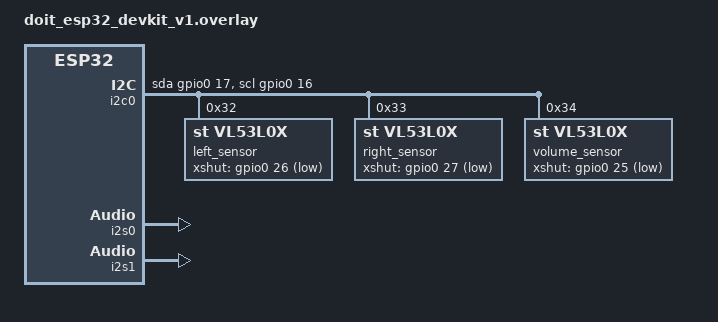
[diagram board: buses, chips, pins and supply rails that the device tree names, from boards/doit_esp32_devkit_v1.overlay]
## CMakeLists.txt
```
# SPDX-License-Identifier: Apache-2.0

cmake_minimum_required(VERSION 3.20.0)
find_package(Zephyr REQUIRED HINTS $ENV{ZEPHYR_BASE})
project(laser_theremin)

FILE(GLOB app_sources src/*.c src/*.h)
target_sources(app PRIVATE ${app_sources})
```

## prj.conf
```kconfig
CONFIG_STDOUT_CONSOLE=y
CONFIG_I2C=y
CONFIG_I2S=y
CONFIG_GPIO=y
CONFIG_SENSOR=y
CONFIG_VL53L0X_PROXIMITY_THRESHOLD=100
CONFIG_VL53L0X_RECONFIGURE_ADDRESS=y

CONFIG_MAIN_STACK_SIZE=4096
CONFIG_STACK_SENTINEL=y
CONFIG_THREAD_NAME=y

CONFIG_FPU=y
CONFIG_FPU_SHARING=y

#debug
#CONFIG_DEBUG=y
#CONFIG_LOG=y
#CONFIG_LOG_PROCESS_THREAD_STACK_SIZE=4096
#CONFIG_LOG_BUFFER_SIZE=4096
#CONFIG_SENSOR_LOG_LEVEL_DBG=y
#CONFIG_CBPRINTF_FP_SUPPORT=y
```

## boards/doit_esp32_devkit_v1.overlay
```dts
/ {
	aliases {
		i2s-tx1 = &i2s0;
		i2s-tx2= &i2s1;

        left-sensor=&left_sensor;
        right-sensor=&right_sensor;
        volume-sensor=&volume_sensor;
	};
};

&i2c0 {
	sda-gpios = <&gpio0 17 GPIO_OPEN_DRAIN>;
    scl-gpios = <&gpio0 16 GPIO_OPEN_DRAIN>;

    left_sensor: left_st_vl53l0x@32{
        compatible = "st,vl53l0x";
        status = "okay";
        reg = < 0x32 >;
        xshut-gpios = < &gpio0 26 (GPIO_ACTIVE_LOW)>;
    };
    right_sensor: right_st_vl53l0@33{
        compatible = "st,vl53l0x";
        status = "okay";
        reg = < 0x33 >;
        xshut-gpios = < &gpio0 27 (GPIO_ACTIVE_LOW)>;
    };

    volume_sensor: volume_st_vl53l0@34{
        compatible = "st,vl53l0x";
        status = "okay";
        reg = < 0x34 >;
        xshut-gpios = < &gpio0 25 (GPIO_ACTIVE_LOW)>;
    };
};

&i2s0_default {
	group1 {
		pinmux = <I2S0_O_BCK_GPIO4>,
			 <I2S0_O_SD_GPIO2>,
			 <I2S0_O_WS_GPIO15>;
	};
};

&i2s0 {
	status = "okay";
	interrupts = <I2S0_INTR_SOURCE IRQ_DEFAULT_PRIORITY 0>;
	interrupt-names = "tx";
};

&i2s1 {
	status = "okay";
	pinctrl-0 = <&i2s1_default>;
    pinctrl-names = "default";
	interrupts = <I2S1_INTR_SOURCE IRQ_DEFAULT_PRIORITY 0>;
	interrupt-names = "tx";
};

&pinctrl {
	i2c0_default: i2c0_default {
		group1 {
			pinmux = <I2C0_SDA_GPIO17>,
				 <I2C0_SCL_GPIO16>;
			bias-pull-up;
			drive-open-drain;
			output-high;
		};
	};

    i2s1_default: i2s1_default {
		group1 {
			pinmux = <I2S1_O_BCK_GPIO21>,
				<I2S1_O_SD_GPIO22>,
				<I2S1_O_WS_GPIO23>;
		};
	};
};
```

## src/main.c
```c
#include <zephyr/kernel.h>
#include <zephyr/device.h>
#include <zephyr/drivers/sensor.h>
#include <zephyr/sys/printk.h>
#include <zephyr/drivers/gpio.h>
#include <zephyr/drivers/i2s.h>
#include <zephyr/drivers/sensor/vl53l0x.h>

#include "distance_sensor.h"
#include "audio_signal.h"


#define MAX_DISTANCE_M 0.8f
#define STACK_SIZE 4096
#define PRIORITY   5


/* --- Global variables for distance --- */
static const struct device *const left_sensor = DEVICE_DT_GET(DT_ALIAS(left_sensor));
static const struct device *const right_sensor = DEVICE_DT_GET(DT_ALIAS(right_sensor));
static const struct device *const volume_sensor = DEVICE_DT_GET(DT_ALIAS(volume_sensor));

struct sensor_value left_sensor_value;
struct sensor_value right_sensor_value;
struct sensor_value volume_sensor_value;

/* --- Global variables for audio --- */
static float left_current_phase = 0.0;
static float right_current_phase = 0.0;

K_MEM_SLAB_DEFINE(i2s_mem_slab_1, BLOCK_SIZE, 6, 4);
K_MEM_SLAB_DEFINE(i2s_mem_slab_2, BLOCK_SIZE, 6, 4);

static const struct device *const dev_i2s_1 = DEVICE_DT_GET(DT_ALIAS(i2s_tx1));
static const struct device *const dev_i2s_2 = DEVICE_DT_GET(DT_ALIAS(i2s_tx2));

static volatile float left_current_frequency = 440.0;
static volatile float right_current_frequency = 440.0;
static volatile float current_volume = 0.4;

/**
 * Simple filtering of the distance and converting into a frequency value
 */
float filter_frequency(float current_value, float new_value)
{
    if (new_value > MAX_DISTANCE_M) {
        new_value = 0;
    }
    return (current_value + new_value * 2200.0f) / 2.0f;
}

/**
 * Measurement function prepared for thread
 * Volume is not filtered on purpose and has also a simple conversion into an amplitude value.
 */
void measurement(void)
{
	while (1) {
		get_distance(left_sensor, &left_sensor_value);
		left_current_frequency = filter_frequency(left_current_frequency, sensor_value_to_float(&left_sensor_value));
		
		get_distance(right_sensor, &right_sensor_value);
		right_current_frequency = filter_frequency(right_current_frequency, sensor_value_to_float(&right_sensor_value));
		
		get_distance(volume_sensor, &volume_sensor_value);
        current_volume = sensor_value_to_float(&volume_sensor_value) * 2.0;
	}
}

K_THREAD_DEFINE(measurement_tid, STACK_SIZE, measurement, NULL, NULL, NULL,PRIORITY, 0, SYS_FOREVER_MS);


int main(void)
{
	int ret;
	struct i2s_config config_1;
    struct i2s_config config_2;

	/* --- Init. all components ---*/
	ret = init_distance_sensor(left_sensor, right_sensor, volume_sensor);
	if (ret) {
		return 0;
	}
	k_sleep(K_MSEC(500));

	ret = config_audio(&config_1, dev_i2s_1, &i2s_mem_slab_1 );
    if (ret < 0) {
        printk("Failed to configure I2S: %d\n", ret);
        return ret;
    }

    ret = config_audio(&config_2, dev_i2s_2, &i2s_mem_slab_2 );
    if (ret < 0) {
        printk("Failed to configure I2S: %d\n", ret);
        return ret;
    }

	/* --- Setup and preload audio signal --- */
    ret = setup_device(dev_i2s_1, &i2s_mem_slab_1, &left_current_phase);
    if (ret < 0) {
        printk("Failed to trigger I2S_1 start: %d\n", ret);
        return ret;
    }

    ret = setup_device(dev_i2s_2, &i2s_mem_slab_2, &right_current_phase);
    if (ret < 0) {
        printk("Failed to trigger I2S_2 start: %d\n", ret);
        return ret;
    }

	/* --- Start all components ---*/
	k_thread_start(measurement_tid);

    ret = i2s_trigger(dev_i2s_1, I2S_DIR_TX, I2S_TRIGGER_START);
    if (ret < 0) {
        printk("Failed to trigger I2S_1 start: %d\n", ret);
        return ret;
    }

	ret = i2s_trigger(dev_i2s_2, I2S_DIR_TX, I2S_TRIGGER_START);
    if (ret < 0) {
        printk("Failed to trigger I2S_2 start: %d\n", ret);
        return ret;
    }

	while (1) {
		void *left_next_block = NULL;
        void *right_next_block = NULL;
        
        if (k_mem_slab_alloc(&i2s_mem_slab_1, &left_next_block, K_MSEC(10)) == 0) {
            
            fill_variable_frequency_buf((int16_t *)left_next_block, current_volume, left_current_frequency, &left_current_phase);

            ret = i2s_write(dev_i2s_1, left_next_block, BLOCK_SIZE);
            if (ret < 0) {
                printk("I2S write failed left_next_block: %d\n", ret);
                k_mem_slab_free(&i2s_mem_slab_1, left_next_block);
            }           
        }

        if (k_mem_slab_alloc(&i2s_mem_slab_2, &right_next_block, K_MSEC(10)) == 0) {

            fill_variable_frequency_buf((int16_t *)right_next_block, current_volume, right_current_frequency, &right_current_phase);

            ret = i2s_write(dev_i2s_2, right_next_block, BLOCK_SIZE);
            if (ret < 0) {
                printk("I2S write failed right_next_block: %d\n", ret);
                k_mem_slab_free(&i2s_mem_slab_2, right_next_block);
            }
        }
  
	}
	
	return 0;
}
```

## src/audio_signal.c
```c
#include <zephyr/kernel.h>
#include <zephyr/drivers/i2s.h>
#include <math.h>

#include "audio_signal.h"

int config_audio(struct i2s_config *config, const struct device *dev_i2s, struct k_mem_slab *mem_slab )
{
    int ret = 0;

    if (!device_is_ready(dev_i2s)) {
        printk("I2S device not ready\n");
        return -EIO;
    }
    
    config->word_size = SAMPLE_BIT_WIDTH;
    config->channels = NUM_CHANNELS;
    config->format = I2S_FMT_DATA_FORMAT_I2S;
    config->options = I2S_OPT_BIT_CLK_CONTROLLER | I2S_OPT_FRAME_CLK_CONTROLLER;
    config->frame_clk_freq = SAMPLE_RATE;
    config->mem_slab = mem_slab;
    config->block_size = BLOCK_SIZE;
    config->timeout = 100;

    ret = i2s_configure(dev_i2s, I2S_DIR_TX, config);
    if (ret < 0) {
        printk("Failed to configure I2S: %d\n", ret);
        return ret;
    }
    return ret;
}

void fill_variable_frequency_buf(int16_t *tx_block, float volume, float frequency,  float *current_phase)
{
    // How much the sine wave angle moves forward each frame
    float phase_increment = (2.0f * (float)M_PI * frequency) / (float)SAMPLE_RATE;

    for (int i = 0; i < FRAMES_PER_BLOCK; i++) {
        // Compute current sample value
        int16_t sample_val = (int16_t)(AMPLITUDE * volume * sinf(*current_phase));

        tx_block[2 * i]     = sample_val; // Left Channel
        tx_block[2 * i + 1] = sample_val; // Right Channel

        // Step phase forward
        *current_phase += phase_increment;

        // Keep phase bounded within 0 to 2*PI to prevent precision drift
        if (*current_phase >= (2.0f * (float)M_PI)) {
            *current_phase -= (2.0f * (float)M_PI);
        }
    }
}

int setup_device(const struct device *dev_i2s, struct k_mem_slab *mem_slab, float *current_phase)
{
    int ret = 0;
    void *block1 = NULL;
    void *block2 = NULL;
    
    ret = k_mem_slab_alloc(mem_slab, &block1, K_NO_WAIT);
    if (ret < 0) return ret;
    
    ret = k_mem_slab_alloc(mem_slab, &block2, K_NO_WAIT);
    if (ret < 0) return ret;

    fill_variable_frequency_buf((int16_t *)block1, 0.4, 440.0, current_phase );
    fill_variable_frequency_buf((int16_t *)block2, 0.4, 440.0, current_phase );

    ret = i2s_write(dev_i2s, block1, BLOCK_SIZE);
    ret = i2s_write(dev_i2s, block2, BLOCK_SIZE);
    
    return ret;
}
```

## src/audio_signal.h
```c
#ifndef AUDIO_SIGNAL
#define AUDIO_SIGNAL

#define SAMPLE_RATE      44100
#define NUM_CHANNELS     2
#define SAMPLE_BIT_WIDTH 16

#define FRAMES_PER_BLOCK 512
#define BLOCK_SIZE       (FRAMES_PER_BLOCK * NUM_CHANNELS * (SAMPLE_BIT_WIDTH / 8))
#define NUMBER_OF_BLOCKS 8

#define AMPLITUDE        32000 // Safe maximum range for int16_t (max 32767)
#ifndef M_PI
#define M_PI             3.14159265358979323846
#endif

int config_audio(struct i2s_config *config, const struct device *dev_i2s, struct k_mem_slab *mem_slab );
int setup_device(const struct device *dev_i2s, struct k_mem_slab *mem_slab, float *current_phase);
void fill_variable_frequency_buf(int16_t *tx_block, float volume, float frequency,  float *current_phase);

#endif // AUDIO
```

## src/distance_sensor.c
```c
#include <zephyr/kernel.h>
#include <zephyr/device.h>
#include <zephyr/drivers/sensor.h>
#include <zephyr/drivers/sensor/vl53l0x.h>
#include "distance_sensor.h"

int init_distance_sensor(const struct device *sensor1, const struct device *sensor2, const struct device *sensor3)
{
	int ret = 0;

	if (!device_is_ready(sensor1)) {
	    printk("Sensor 1: device not ready.\n");
	    return ret;
	}
	
	ret = sensor_sample_fetch(sensor1);
	if (ret) {
		printk("fetch sensor 1 failed ret %d\n", ret);
		return ret;
	}

	k_sleep(K_MSEC(1000));

    if (!device_is_ready(sensor2)) {
	    printk("Sensor 2: device not ready.\n");
	    return ret;
	}

	k_sleep(K_MSEC(1000));

    ret = sensor_sample_fetch(sensor2);
	if (ret) {
		printk("fetch sensor 2 failed ret %d\n", ret);
		return ret;
	}

    if (!device_is_ready(sensor3)) {
	    printk("Sensor 3: device not ready.\n");
	    return ret;
	}
    ret = sensor_sample_fetch(sensor3);
	if (ret) {
		printk("fetch sensor 3 failed ret %d\n", ret);
		return ret;
	}

	return ret;
}

int get_distance(const struct device *sensor, struct sensor_value *sensorValue)
{
	int ret = 0;
	ret = sensor_sample_fetch(sensor);
	if (ret) {
		printk("sensor_sample_fetch failed ret %d\n", ret);
		return ret;
	}

	ret = sensor_channel_get(sensor, SENSOR_CHAN_DISTANCE, sensorValue);
	return ret;
}
```

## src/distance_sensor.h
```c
#ifndef DISTANCE_SENSOR
#define DISTANCE_SENSOR


int init_distance_sensor(const struct device *sensor1, const struct device *sensor2, const struct device *sensor3);
int get_distance(const struct device *sensor, struct sensor_value *sensorValue);

#endif // DISTANCE_SENSOR
```
